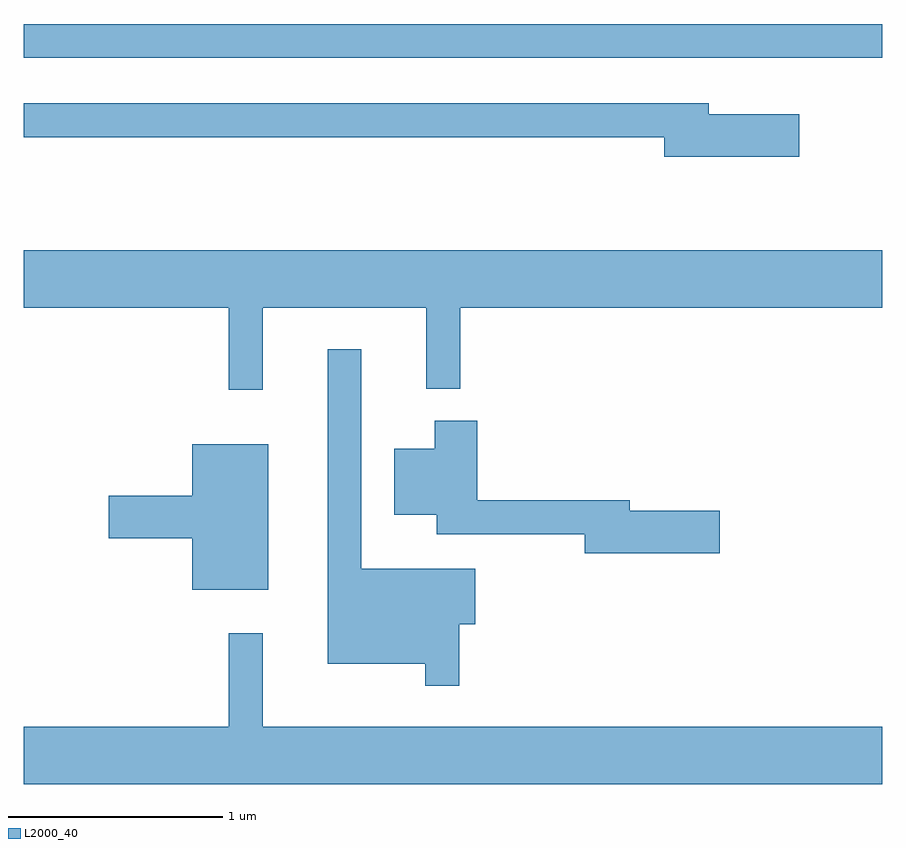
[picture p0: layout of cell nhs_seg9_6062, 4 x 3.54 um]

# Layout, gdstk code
import gdstk
lib = gdstk.Library(unit=1e-6, precision=1e-09)
def R(c, l, rs):  # rectangles x0, y0, x1, y1
    for r in rs: c.add(gdstk.rectangle(r[:2], r[2:], *l))
def P(c, l, *ps):  # polygons
    for p in ps: c.add(gdstk.Polygon(p, *l))
L2000_40 = (2000, 40)

nhs_seg9_6062 = lib.new_cell('nhs_seg9_6062')
R(nhs_seg9_6062, L2000_40, [(363.611,2041.821,367.611,2041.979)])
P(nhs_seg9_6062, L2000_40, [(367.224,2041.559),(366.804,2041.559),(366.804,2041.609),(363.611,2041.609),(363.611,2041.451),(366.596,2041.451),(366.596,2041.361),(367.224,2041.361)],
  [(364.724,2040.656),(365.486,2040.656),(365.486,2040.278),(365.644,2040.278),(365.644,2040.656),(367.611,2040.656),(367.611,2040.924),(363.611,2040.924),(363.611,2040.656),(364.566,2040.656),(364.566,2040.273),(364.724,2040.273)],
  [(365.639,2039.181),(365.714,2039.181),(365.714,2039.439),(365.184,2039.439),(365.184,2040.463),(365.026,2040.463),(365.026,2038.996),(365.481,2038.996),(365.481,2038.893),(365.639,2038.893)],
  [(366.854,2039.709),(366.434,2039.709),(366.434,2039.759),(365.724,2039.759),(365.724,2040.129),(365.526,2040.129),(365.526,2039.999),(365.336,2039.999),(365.336,2039.691),(365.536,2039.691),(365.536,2039.601),(366.226,2039.601),(366.226,2039.511),(366.854,2039.511)],
  [(364.749,2040.019),(364.396,2040.019),(364.396,2039.779),(364.006,2039.779),(364.006,2039.581),(364.396,2039.581),(364.396,2039.341),(364.749,2039.341)],
  [(367.611,2038.704),(364.724,2038.704),(364.724,2039.138),(364.566,2039.138),(364.566,2038.704),(363.611,2038.704),(363.611,2038.436),(367.611,2038.436)])

lib.write_gds('nhs_seg9_6062.gds')
